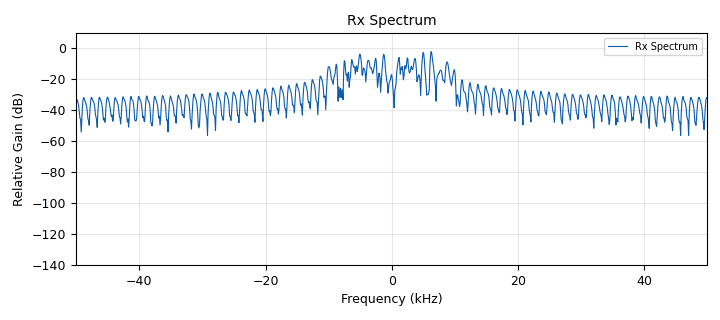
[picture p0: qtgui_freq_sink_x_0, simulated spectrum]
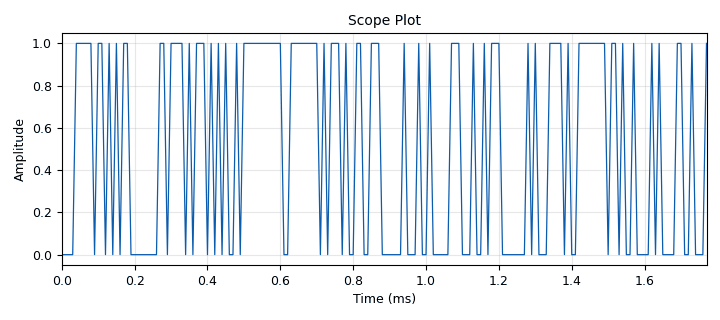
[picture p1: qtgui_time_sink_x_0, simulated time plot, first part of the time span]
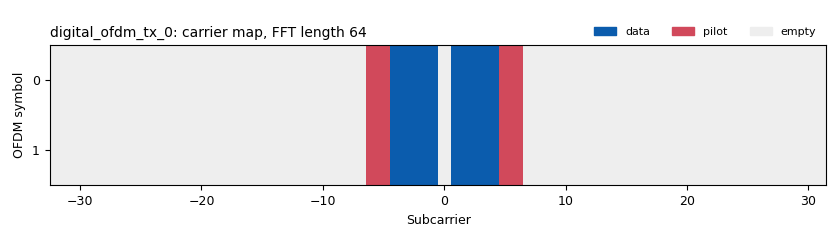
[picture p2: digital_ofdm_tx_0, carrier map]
options:
  parameters:
    author: MA
    category: Custom
    description: Transmit a pre-defined signal (a complex sine) as OFDM packets.
    generate_options: qt_gui
    id: ofdm_loopback_example_data_only
    output_language: python
    title: ofdm_loopback_example_data_only
  states: {}

blocks:
- name: fft_len
  id: variable
  parameters:
    value: '64'
  states: {}
- name: freq_offset
  id: variable_qtgui_range
  parameters:
    label: Frequency Offset (Multiples of Sub-carrier spacing)
    start: '-3'
    step: '.01'
    stop: '3'
    value: '0'
  states: {}
- name: len_tag_key
  id: variable
  parameters:
    value: '"packet_len"'
  states: {}
- name: noise_voltage
  id: variable_qtgui_range
  parameters:
    label: Noise Amplitude
    start: '0'
    step: '.01'
    stop: '1'
    value: '0.1'
  states: {}
- name: packet_len
  id: variable
  parameters:
    value: '50'
  states: {}
- name: samp_rate
  id: variable
  parameters:
    value: '100000'
  states: {}
- name: analog_random_source_x_0
  id: analog_random_source_x
  parameters:
    max: '2'
    min: '0'
    num_samps: '1000'
    repeat: 'True'
    type: byte
  states: {}
- name: blocks_complex_to_float_0
  id: blocks_complex_to_float
  parameters: {}
  states: {}
- name: blocks_float_to_complex_0
  id: blocks_float_to_complex
  parameters: {}
  states: {}
- name: blocks_stream_to_tagged_stream_0
  id: blocks_stream_to_tagged_stream
  parameters:
    len_tag_key: len_tag_key
    packet_len: packet_len
    type: byte
  states: {}
- name: blocks_tag_debug_0
  id: blocks_tag_debug
  parameters:
    display: 'False'
    name: Rx Packets
    type: byte
  states: {}
- name: blocks_throttle_0
  id: blocks_throttle
  parameters:
    samples_per_second: samp_rate
    type: complex
  states: {}
- name: blocks_uchar_to_float_0
  id: blocks_uchar_to_float
  parameters: {}
  states: {}
- name: blocks_vector_source_x_0
  id: blocks_vector_source_x
  parameters:
    repeat: 'True'
    tags: ()
    type: byte
    vector: range(packet_len)
  states: {state: disabled}
- name: channels_channel_model_0
  id: channels_channel_model
  parameters:
    block_tags: 'True'
    epsilon: '1.0'
    freq_offset: freq_offset * 1.0/fft_len
    noise_voltage: noise_voltage
    seed: '0'
    taps: 1.0 + 1.0j
  states: {}
- name: customEPB_FStTS_0
  id: customEPB_FStTS
  parameters:
    FileName: '"/home/michael/Desktop/Desktop files/iliad2.txt" '
    Pkt_len: '50'
    Postamble_len: '16'
    Preamble_len: '64'
  states: {state: disabled}
- name: digital_ofdm_rx_0
  id: digital_ofdm_rx
  parameters:
    cp_len: fft_len//4
    fft_len: fft_len
    header_mod: '"BPSK"'
    occupied_carriers: ((-4,-3,-2,-1,1,2,3,4),)
    packet_len_key: '"rx_len"'
    payload_mod: '"QPSK"'
    pilot_carriers: ((-6,-5,5,6),)
    pilot_symbols: ((-1,1,-1,1),)
    sync_word1: None
    sync_word2: None
  states: {}
- name: digital_ofdm_tx_0
  id: digital_ofdm_tx
  parameters:
    cp_len: fft_len//4
    fft_len: fft_len
    header_mod: '"BPSK"'
    occupied_carriers: ((-4,-3,-2,-1,1,2,3,4),)
    packet_len_key: len_tag_key
    payload_mod: '"QPSK"'
    pilot_carriers: ((-6,-5,5,6),)
    pilot_symbols: ((-1,1,-1,1),)
    rolloff: '0'
    sync_word1: None
    sync_word2: None
  states: {}
- name: qtgui_freq_sink_x_0
  id: qtgui_freq_sink_x
  parameters:
    bw: samp_rate
    fc: '0'
    fftsize: '1024'
    label1: Rx Spectrum
    name: Rx Spectrum
    showports: 'True'
    type: complex
  states: {}
- name: qtgui_time_sink_x_0
  id: qtgui_time_sink_x
  parameters:
    autoscale: 'True'
    label1: ''
    name: Scope Plot
    size: '1024'
    srate: samp_rate
    type: float
  states: {}
- name: virtual_sink_0
  id: virtual_sink
  parameters:
    stream_id: a1a
  states: {}
- name: virtual_sink_0_0
  id: virtual_sink
  parameters:
    stream_id: a1b
  states: {}
- name: virtual_source_0
  id: virtual_source
  parameters:
    stream_id: a1a
  states: {}
- name: virtual_source_0_0
  id: virtual_source
  parameters:
    stream_id: a1b
  states: {}

connections:
- [analog_random_source_x_0, '0', blocks_stream_to_tagged_stream_0, '0']
- [blocks_complex_to_float_0, '0', virtual_sink_0, '0']
- [blocks_complex_to_float_0, '1', virtual_sink_0_0, '0']
- [blocks_float_to_complex_0, '0', blocks_throttle_0, '0']
- [blocks_stream_to_tagged_stream_0, '0', digital_ofdm_tx_0, '0']
- [blocks_throttle_0, '0', digital_ofdm_rx_0, '0']
- [blocks_throttle_0, '0', qtgui_freq_sink_x_0, '0']
- [blocks_uchar_to_float_0, '0', qtgui_time_sink_x_0, '0']
- [blocks_vector_source_x_0, '0', blocks_stream_to_tagged_stream_0, '0']
- [channels_channel_model_0, '0', blocks_complex_to_float_0, '0']
- [customEPB_FStTS_0, '0', digital_ofdm_tx_0, '0']
- [digital_ofdm_rx_0, '0', blocks_tag_debug_0, '0']
- [digital_ofdm_rx_0, '0', blocks_uchar_to_float_0, '0']
- [digital_ofdm_tx_0, '0', channels_channel_model_0, '0']
- [virtual_source_0, '0', blocks_float_to_complex_0, '0']
- [virtual_source_0_0, '0', blocks_float_to_complex_0, '1']

metadata:
  file_format: 1
